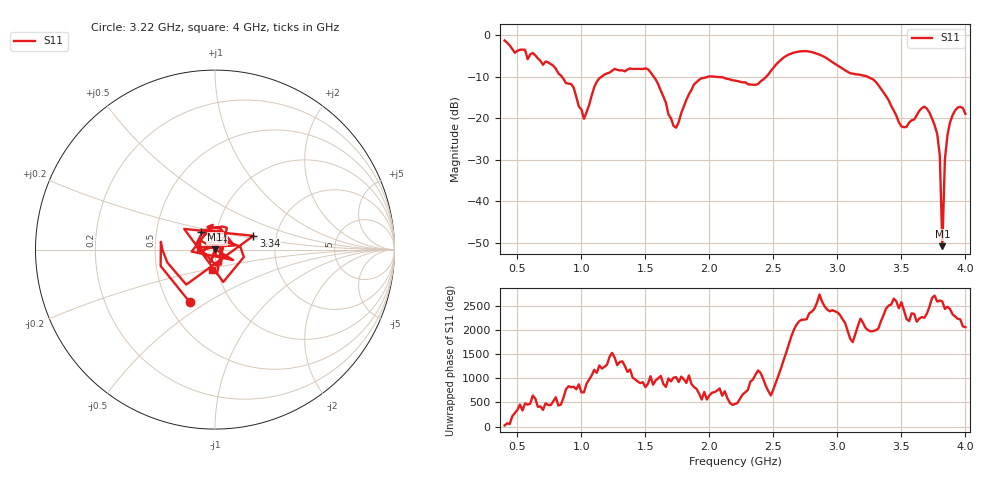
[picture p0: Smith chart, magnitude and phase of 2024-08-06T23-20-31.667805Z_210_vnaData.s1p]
!Created with skrf (http://scikit-rf.org).
# Hz S RI R 50.0
!freq ReS11 ImS11
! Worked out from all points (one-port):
!   181 points, 400 MHz to 4 GHz, reference 50 ohm
!   lowest |S11| = -50.8 dB at 3.82 GHz (marker M1), VSWR 1.01, Z = 50.1 + j0.27 ohm
!   |S11| at or under -10 dB: 1.566 GHz to 1.985 GHz (418.6 MHz wide, 23.6 % of centre); 2.056 GHz to 2.442 GHz (386.2 MHz wide, 17.2 % of centre); 3.24 GHz to end of sweep (the widest 3 of 4)
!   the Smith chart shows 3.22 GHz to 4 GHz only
!   S11 on the Smith chart (normalised r, x): 3.22 GHz: 0.65, -0.42; 3.34 GHz: 1.52, +0.25; 3.44 GHz: 0.84, +0.16; 4 GHz: 0.94, -0.21
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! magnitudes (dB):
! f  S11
! 400 MHz  -1.2
! 860 MHz  -10.5
! 940 MHz  -12.6
! 1.02 GHz  -20.1
! 1.12 GHz  -11.2
! 1.3 GHz  -8.4
! 1.52 GHz  -8.1
! 1.6 GHz  -11.8
! 1.72 GHz  -21.8
! 1.76 GHz  -20.9
! 1.92 GHz  -10.7
! 2.2 GHz  -10.9
! 2.38 GHz  -11.7
! 2.66 GHz  -4.1
! 3.1 GHz  -9.1
! 3.22 GHz  -9.8
! 3.34 GHz  -12.9
! 3.44 GHz  -18.1
! 3.5 GHz  -21.9
! 3.56 GHz  -21.0
! 3.68 GHz  -17.2
! 3.78 GHz  -23.8
! 3.8 GHz  -28.9
! 3.82 GHz  -50.8
! 3.84 GHz  -29.8
! 3.86 GHz  -24.0
! 3.92 GHz  -18.0
! 4 GHz  -18.9
